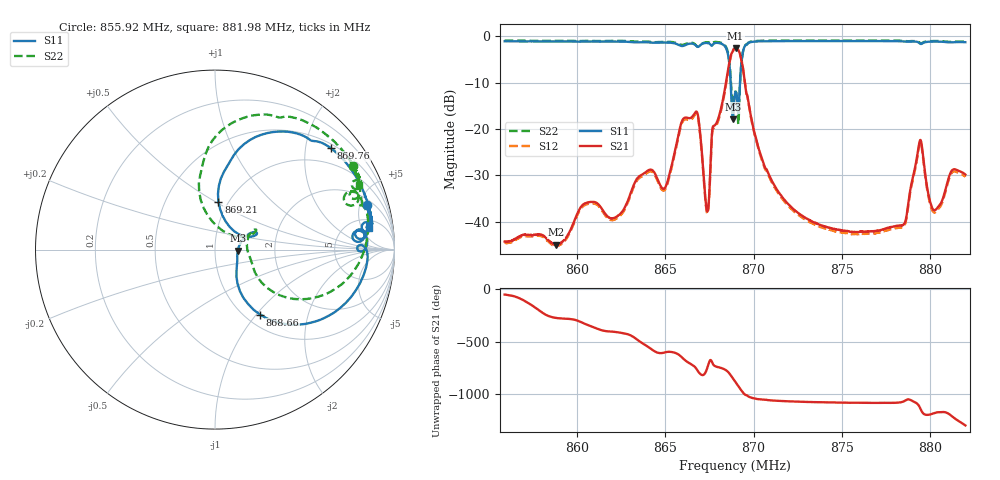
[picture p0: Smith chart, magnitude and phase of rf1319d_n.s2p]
!RF1319D,#2,narrow,bn,8/22/05
# HZ S RI R 50
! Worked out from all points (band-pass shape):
!   1601 points, 855.92 MHz to 881.98 MHz, reference 50 ohm
!   highest |S21| = -2.51 dB at 868.98 MHz (marker M1); lowest = -44.9 dB at 858.82 MHz (marker M2)
!   |S21| within 3 dB of the highest: 868.6352 MHz to 869.3382 MHz (702.9 kHz wide, 0.0809 % of centre)
!   lowest |S11| = -17.9 dB at 868.84 MHz (marker M3), VSWR 1.29, Z = 64.5 - j0.895 ohm
!   |S11| at or under -10 dB: 868.704 MHz to 869.2292 MHz (525.3 kHz wide, 0.0604 % of centre)
!   |S22| runs from -18.9 to -0.9 dB; largest |S21 - S12| = 0.025
!   S11 on the Smith chart (normalised r, x): 855.92 MHz: 2.61, +5.91; 868.66 MHz: 1.17, -1.05; 869.21 MHz: 0.90, +0.52; 869.76 MHz: 0.59, +2.54; 881.98 MHz: 7.12, +6.83
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8.55916e8  0.8495 0.2464  0.00401 -0.0046  0.00371 -0.0046  0.7689 0.4668
8.588161e8  0.8542 0.2181  0.000281 0.00566  0.000533 0.00545  0.7794 0.4394
8.60266e8  0.8541 0.1995  0.0105 0.0103  0.0105 0.00945  0.7842 0.4225
8.646162e8  0.8469 0.123  -0.00968 0.0255  -0.00837 0.0247  0.7935 0.3517
8.667342e8  0.7957 0.0429  0.1265 -0.0871  0.1193 -0.0865  0.767 0.2461
8.673859e8  0.8477 0.032  0.011 -0.00659  0.0103 -0.00661  0.8167 0.2795
8.67728e8  0.8277 0.0193  0.1075 -0.0062  0.1018 -0.00817  0.8262 0.2408
8.682982e8  0.7691 -0.2488  0.164 -0.1506  0.1534 -0.1438  0.8274 -0.0157
8.686567e8  0.2515 -0.362  -0.0211 -0.5568  -0.0109 -0.5349  0.3982 -0.2669
8.688359e8  0.1266 -0.00683  -0.4895 -0.5022  -0.4761 -0.5018  0.1796 0.000671
8.689663e8  0.2267 0.0972  -0.7287 -0.1715  -0.7225 -0.1729  0.2268 0.1125
8.689825e8  0.2325 0.0944  -0.7393 -0.1201  -0.7333 -0.1218  0.23 0.1102
8.692106e8  0.0192 0.2669  -0.4554 0.4818  -0.4576 0.496  -0.0638 0.2326
8.69455e8  0.3524 0.6576  0.0743 0.3738  0.0945 0.3708  0.1577 0.7332
8.697646e8  0.6447 0.5657  0.1152 0.1233  0.1194 0.1144  0.4779 0.7237
8.711006e8  0.8239 0.3313  0.0255 0.00585  0.0247 0.0045  0.7166 0.5439
8.733001e8  0.8576 0.2357  0.01 -0.000285  0.00956 -0.000615  0.7734 0.4648
8.776502e8  0.8754 0.1528  0.00847 -0.00139  0.00799 -0.00162  0.8087 0.3933
8.785462e8  0.869 0.1312  0.00956 0.00158  0.00907 0.00124  0.8091 0.3725
8.794097e8  0.8302 0.103  0.0439 -0.0608  0.0401 -0.0587  0.7805 0.337
8.801918e8  0.8677 0.1352  -0.00437 -0.0126  -0.00453 -0.0118  0.8072 0.3758
8.81984e8  0.8557 0.1213  -0.0222 0.0234  -0.0203 0.0226  0.7996 0.3606
